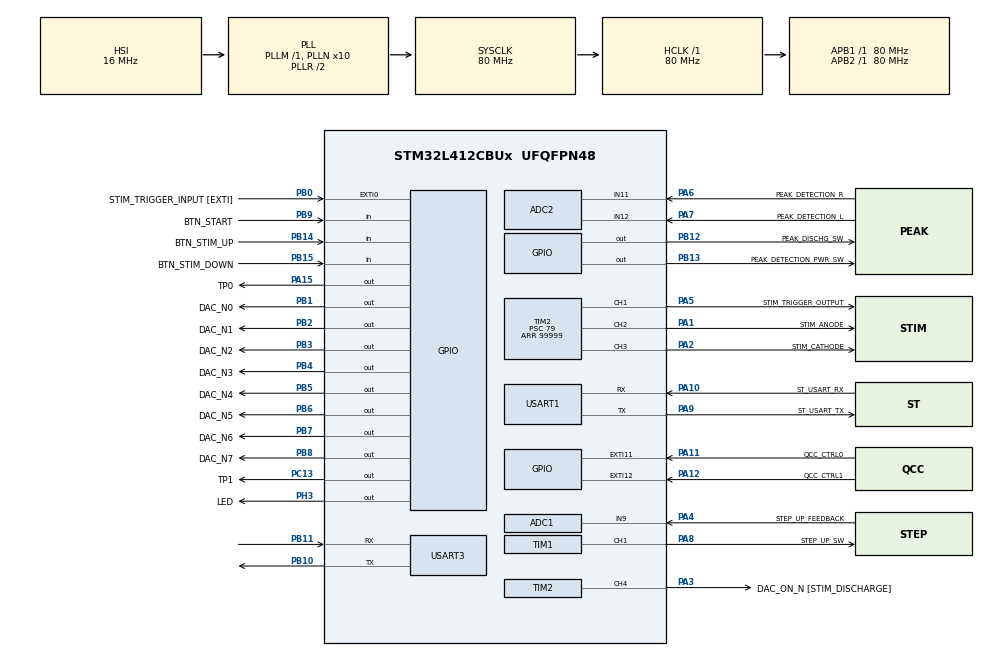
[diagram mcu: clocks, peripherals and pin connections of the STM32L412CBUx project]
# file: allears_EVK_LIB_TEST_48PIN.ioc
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ADC1.AWD1HighThreshold=2650
ADC1.AWD1ITMode=ENABLE
ADC1.Channel-1\#ChannelRegularConversion=ADC_CHANNEL_9
ADC1.ClockPrescaler=ADC_CLOCK_ASYNC_DIV2
ADC1.ContinuousConvMode=ENABLE
ADC1.DMAContinuousRequests=ENABLE
ADC1.EOCSelection=ADC_EOC_SEQ_CONV
ADC1.EnableAnalogWatchDog1=true
ADC1.NbrOfConversionFlag=1
ADC1.OffsetNumber-1\#ChannelRegularConversion=ADC_OFFSET_NONE
ADC1.Overrun=ADC_OVR_DATA_OVERWRITTEN
ADC1.Rank-1\#ChannelRegularConversion=1
ADC1.SamplingTime-1\#ChannelRegularConversion=ADC_SAMPLETIME_47CYCLES_5
ADC1.WatchdogChannel=ADC_CHANNEL_9
ADC1.master=1
ADC2.Channel-3\#ChannelRegularConversion=ADC_CHANNEL_11
ADC2.Channel-4\#ChannelRegularConversion=ADC_CHANNEL_12
ADC2.ClockPrescaler=ADC_CLOCK_ASYNC_DIV2
ADC2.DMAContinuousRequests=ENABLE
ADC2.EOCSelection=ADC_EOC_SEQ_CONV
ADC2.ExternalTrigConv=ADC_EXTERNALTRIG_T2_TRGO
ADC2.ExternalTrigConvEdge=ADC_EXTERNALTRIGCONVEDGE_FALLING
ADC2.NbrOfConversion=2
ADC2.NbrOfConversionFlag=1
ADC2.OffsetNumber-3\#ChannelRegularConversion=ADC_OFFSET_NONE
ADC2.OffsetNumber-4\#ChannelRegularConversion=ADC_OFFSET_NONE
ADC2.Overrun=ADC_OVR_DATA_OVERWRITTEN
ADC2.Rank-3\#ChannelRegularConversion=1
ADC2.Rank-4\#ChannelRegularConversion=2
ADC2.SamplingTime-3\#ChannelRegularConversion=ADC_SAMPLETIME_47CYCLES_5
ADC2.SamplingTime-4\#ChannelRegularConversion=ADC_SAMPLETIME_47CYCLES_5
Dma.ADC1.5.Direction=DMA_PERIPH_TO_MEMORY
Dma.ADC1.5.Instance=DMA2_Channel3
Dma.ADC1.5.MemDataAlignment=DMA_MDATAALIGN_HALFWORD
Dma.ADC1.5.MemInc=DMA_MINC_ENABLE
Dma.ADC1.5.Mode=DMA_CIRCULAR
Dma.ADC1.5.PeriphDataAlignment=DMA_PDATAALIGN_HALFWORD
Dma.ADC1.5.PeriphInc=DMA_PINC_DISABLE
Dma.ADC1.5.Priority=DMA_PRIORITY_LOW
Dma.ADC2.4.Direction=DMA_PERIPH_TO_MEMORY
Dma.ADC2.4.Instance=DMA1_Channel2
Dma.ADC2.4.MemDataAlignment=DMA_MDATAALIGN_HALFWORD
Dma.ADC2.4.MemInc=DMA_MINC_ENABLE
Dma.ADC2.4.Mode=DMA_CIRCULAR
Dma.ADC2.4.PeriphDataAlignment=DMA_PDATAALIGN_HALFWORD
Dma.ADC2.4.PeriphInc=DMA_PINC_DISABLE
Dma.ADC2.4.Priority=DMA_PRIORITY_LOW
Dma.Request0=TIM2_CH2/CH4
Dma.Request1=TIM2_CH3
Dma.Request2=USART1_RX
Dma.Request3=USART1_TX
Dma.Request4=ADC2
Dma.Request5=ADC1
Dma.TIM2_CH2/CH4.0.Direction=DMA_MEMORY_TO_PERIPH
Dma.TIM2_CH2/CH4.0.Instance=DMA1_Channel7
Dma.TIM2_CH2/CH4.0.MemDataAlignment=DMA_MDATAALIGN_WORD
Dma.TIM2_CH2/CH4.0.MemInc=DMA_MINC_ENABLE
Dma.TIM2_CH2/CH4.0.Mode=DMA_CIRCULAR
Dma.TIM2_CH2/CH4.0.PeriphDataAlignment=DMA_PDATAALIGN_WORD
Dma.TIM2_CH2/CH4.0.PeriphInc=DMA_PINC_DISABLE
Dma.TIM2_CH2/CH4.0.Priority=DMA_PRIORITY_VERY_HIGH
Dma.TIM2_CH3.1.Direction=DMA_MEMORY_TO_PERIPH
Dma.TIM2_CH3.1.Instance=DMA1_Channel1
Dma.TIM2_CH3.1.MemDataAlignment=DMA_MDATAALIGN_WORD
Dma.TIM2_CH3.1.MemInc=DMA_MINC_ENABLE
Dma.TIM2_CH3.1.Mode=DMA_CIRCULAR
Dma.TIM2_CH3.1.PeriphDataAlignment=DMA_PDATAALIGN_WORD
Dma.TIM2_CH3.1.PeriphInc=DMA_PINC_DISABLE
Dma.TIM2_CH3.1.Priority=DMA_PRIORITY_VERY_HIGH
Dma.USART1_RX.2.Direction=DMA_PERIPH_TO_MEMORY
Dma.USART1_RX.2.Instance=DMA1_Channel5
Dma.USART1_RX.2.MemDataAlignment=DMA_MDATAALIGN_BYTE
Dma.USART1_RX.2.MemInc=DMA_MINC_ENABLE
Dma.USART1_RX.2.Mode=DMA_NORMAL
Dma.USART1_RX.2.PeriphDataAlignment=DMA_PDATAALIGN_BYTE
Dma.USART1_RX.2.PeriphInc=DMA_PINC_DISABLE
Dma.USART1_RX.2.Priority=DMA_PRIORITY_LOW
Dma.USART1_TX.3.Direction=DMA_MEMORY_TO_PERIPH
Dma.USART1_TX.3.Instance=DMA1_Channel4
Dma.USART1_TX.3.MemDataAlignment=DMA_MDATAALIGN_BYTE
Dma.USART1_TX.3.MemInc=DMA_MINC_ENABLE
Dma.USART1_TX.3.Mode=DMA_NORMAL
Dma.USART1_TX.3.PeriphDataAlignment=DMA_PDATAALIGN_BYTE
Dma.USART1_TX.3.PeriphInc=DMA_PINC_DISABLE
Dma.USART1_TX.3.Priority=DMA_PRIORITY_LOW
Mcu.Family=STM32L4
Mcu.Name=STM32L412CBUx
Mcu.Package=UFQFPN48
NVIC.ADC1_2_IRQn=true\:1\:0\:true\:false\:true\:true\:true\:true
NVIC.DMA1_Channel1_IRQn=true\:1\:0\:true\:false\:true\:false\:true\:true
NVIC.DMA1_Channel2_IRQn=true\:1\:0\:true\:false\:true\:false\:true\:true
NVIC.DMA1_Channel4_IRQn=true\:0\:0\:false\:false\:true\:false\:true\:true
NVIC.DMA1_Channel5_IRQn=true\:0\:0\:false\:false\:true\:false\:true\:true
NVIC.DMA1_Channel7_IRQn=true\:1\:0\:true\:false\:true\:false\:true\:true
NVIC.EXTI0_IRQn=true\:0\:0\:false\:false\:true\:true\:true\:true
NVIC.EXTI15_10_IRQn=true\:0\:0\:false\:false\:true\:true\:true\:true
NVIC.PriorityGroup=NVIC_PRIORITYGROUP_4
NVIC.TIM1_UP_TIM16_IRQn=true\:2\:0\:true\:false\:true\:true\:true\:true
NVIC.TIM2_IRQn=true\:2\:0\:true\:false\:true\:true\:true\:true
NVIC.TIM6_IRQn=true\:2\:0\:true\:false\:true\:true\:true\:true
NVIC.USART1_IRQn=true\:0\:0\:false\:false\:true\:true\:true\:true
PA0.Mode=SYS_WakeUp0
PA0.Signal=SYS_WKUP1
PA1.GPIO_Label=STIM_ANODE
PA1.Signal=S_TIM2_CH2
PA10.GPIO_Label=ST_USART_RX
PA10.Mode=Asynchronous
PA10.Signal=USART1_RX
PA11.GPIO_Label=QCC_CTRL0
PA11.Signal=GPXTI11
PA12.GPIO_Label=QCC_CTRL1
PA12.Signal=GPXTI12
PA13\ (JTMS/SWDIO).Mode=Serial_Wire
PA13\ (JTMS/SWDIO).Signal=SYS_JTMS-SWDIO
PA14\ (JTCK/SWCLK).Mode=Serial_Wire
PA14\ (JTCK/SWCLK).Signal=SYS_JTCK-SWCLK
PA15\ (JTDI).GPIO_Label=TP0
PA15\ (JTDI).GPIO_PuPd=GPIO_PULLDOWN
PA15\ (JTDI).Signal=GPIO_Output
PA2.GPIO_Label=STIM_CATHODE
PA2.Signal=S_TIM2_CH3
PA3.GPIO_Label=DAC_ON_N [STIM_DISCHARGE]
PA3.Signal=S_TIM2_CH4
PA4.GPIO_Label=STEP_UP_FEEDBACK
PA4.Signal=ADCx_IN9
PA5.GPIO_Label=STIM_TRIGGER_OUTPUT
PA5.Signal=S_TIM2_CH1
PA6.GPIO_Label=PEAK_DETECTION_R
PA6.Signal=ADCx_IN11
PA7.GPIO_Label=PEAK_DETECTION_L
PA7.Signal=ADCx_IN12
PA8.GPIO_Label=STEP_UP_SW
PA8.Signal=S_TIM1_CH1
PA9.GPIO_Label=ST_USART_TX
PA9.Mode=Asynchronous
PA9.Signal=USART1_TX
PB0.GPIO_Label=STIM_TRIGGER_INPUT [EXTI]
PB0.Signal=GPXTI0
PB1.GPIO_Label=DAC_N0
PB1.GPIO_PuPd=GPIO_PULLDOWN
PB1.Signal=GPIO_Output
PB10.Mode=Asynchronous
PB10.Signal=USART3_TX
PB11.Mode=Asynchronous
PB11.Signal=USART3_RX
PB12.GPIO_Label=PEAK_DISCHG_SW
PB12.GPIO_PuPd=GPIO_PULLDOWN
PB12.Signal=GPIO_Output
PB13.GPIO_Label=PEAK_DETECTION_PWR_SW
PB13.GPIO_PuPd=GPIO_PULLDOWN
PB13.Signal=GPIO_Output
PB14.GPIO_Label=BTN_STIM_UP
PB14.GPIO_PuPd=GPIO_PULLUP
PB14.Signal=GPIO_Input
PB15.GPIO_Label=BTN_STIM_DOWN
PB15.GPIO_PuPd=GPIO_PULLUP
PB15.Signal=GPIO_Input
PB2.GPIO_Label=DAC_N1
PB2.GPIO_PuPd=GPIO_PULLDOWN
PB2.Signal=GPIO_Output
PB3\ (JTDO/TRACESWO).GPIO_Label=DAC_N2
PB3\ (JTDO/TRACESWO).GPIO_PuPd=GPIO_PULLDOWN
PB3\ (JTDO/TRACESWO).Signal=GPIO_Output
PB4\ (NJTRST).GPIO_Label=DAC_N3
PB4\ (NJTRST).GPIO_PuPd=GPIO_PULLDOWN
PB4\ (NJTRST).Signal=GPIO_Output
PB5.GPIO_Label=DAC_N4
PB5.GPIO_PuPd=GPIO_PULLDOWN
PB5.Signal=GPIO_Output
PB6.GPIO_Label=DAC_N5
PB6.GPIO_PuPd=GPIO_PULLDOWN
PB6.Signal=GPIO_Output
PB7.GPIO_Label=DAC_N6
PB7.GPIO_PuPd=GPIO_PULLDOWN
PB7.Signal=GPIO_Output
PB8.GPIO_Label=DAC_N7
PB8.GPIO_PuPd=GPIO_PULLDOWN
PB8.Signal=GPIO_Output
PB9.GPIO_Label=BTN_START
PB9.GPIO_PuPd=GPIO_PULLUP
PB9.Signal=GPIO_Input
PC13.GPIO_Label=TP1
PC13.GPIO_PuPd=GPIO_PULLDOWN
PC13.Signal=GPIO_Output
PC14-OSC32_IN\ (PC14).Mode=LSE-External-Oscillator
PC14-OSC32_IN\ (PC14).Signal=RCC_OSC32_IN
PC15-OSC32_OUT\ (PC15).Mode=LSE-External-Oscillator
PC15-OSC32_OUT\ (PC15).Signal=RCC_OSC32_OUT
PH0-OSC_IN\ (PH0).Mode=HSE-External-Oscillator
PH0-OSC_IN\ (PH0).Signal=RCC_OSC_IN
PH1-OSC_OUT\ (PH1).Mode=HSE-External-Oscillator
PH1-OSC_OUT\ (PH1).Signal=RCC_OSC_OUT
PH3-BOOT0\ (BOOT0).GPIO_Label=LED
PH3-BOOT0\ (BOOT0).GPIO_PuPd=GPIO_PULLDOWN
PH3-BOOT0\ (BOOT0).Signal=GPIO_Output
ProjectManager.HeapSize=0x7FF
ProjectManager.StackSize=0x7FF
ProjectManager.TargetToolchain=STM32CubeIDE
RCC.ADCFreq_Value=80000000
RCC.AHBFreq_Value=80000000
RCC.APB1Freq_Value=80000000
RCC.APB1TimFreq_Value=80000000
RCC.APB2Freq_Value=80000000
RCC.APB2TimFreq_Value=80000000
RCC.CortexFreq_Value=80000000
RCC.HCLKFreq_Value=80000000
RCC.HSE_VALUE=8000000
RCC.HSI48_VALUE=48000000
RCC.HSI_VALUE=16000000
RCC.MSI_VALUE=4000000
RCC.PLLN=10
RCC.PLLSourceVirtual=RCC_PLLSOURCE_HSI
RCC.SYSCLKFreq_VALUE=80000000
RCC.SYSCLKSource=RCC_SYSCLKSOURCE_PLLCLK
RCC.USBFreq_Value=4000000
RCC.VCOOutputFreq_Value=160000000
SH.ADCx_IN11.0=ADC2_IN11,IN11-Single-Ended
SH.ADCx_IN12.0=ADC2_IN12,IN12-Single-Ended
SH.ADCx_IN9.0=ADC1_IN9,IN9-Single-Ended
SH.S_TIM1_CH1.0=TIM1_CH1,PWM Generation1 CH1
SH.S_TIM2_CH1.0=TIM2_CH1,PWM Generation1 CH1
SH.S_TIM2_CH2.0=TIM2_CH2,PWM Generation2 CH2
SH.S_TIM2_CH3.0=TIM2_CH3,Output Compare3 CH3
SH.S_TIM2_CH4.0=TIM2_CH4,Output Compare4 CH4
TIM1.AutoReloadPreload=TIM_AUTORELOAD_PRELOAD_ENABLE
TIM1.Channel-PWM\ Generation1\ CH1=TIM_CHANNEL_1
TIM1.CounterMode=TIM_COUNTERMODE_DOWN
TIM1.Period=9999
TIM1.Prescaler=3
TIM16.AutoReloadPreload=TIM_AUTORELOAD_PRELOAD_ENABLE
TIM16.Period=9999
TIM16.Prescaler=799
TIM2.AutoReloadPreload=TIM_AUTORELOAD_PRELOAD_ENABLE
TIM2.Channel-Output\ Compare3\ CH3=TIM_CHANNEL_3
TIM2.Channel-Output\ Compare4\ CH4=TIM_CHANNEL_4
TIM2.Channel-PWM\ Generation1\ CH1=TIM_CHANNEL_1
TIM2.Channel-PWM\ Generation2\ CH2=TIM_CHANNEL_2
TIM2.OCMode_3=TIM_OCMODE_TOGGLE
TIM2.OCMode_4=TIM_OCMODE_TOGGLE
TIM2.OCPolarity_1=TIM_OCPOLARITY_LOW
TIM2.Period=99999
TIM2.Prescaler=79
TIM2.Pulse-Output\ Compare3\ CH3=1
TIM2.Pulse-Output\ Compare4\ CH4=1
TIM2.Pulse-PWM\ Generation1\ CH1=1
TIM2.Pulse-PWM\ Generation2\ CH2=1
TIM2.TIM_MasterOutputTrigger=TIM_TRGO_OC2REF
TIM6.AutoReloadPreload=TIM_AUTORELOAD_PRELOAD_ENABLE
TIM6.Period=9999
TIM6.Prescaler=799
USART1.VirtualMode-Asynchronous=VM_ASYNC
USART3.VirtualMode-Asynchronous=VM_ASYNC
VP_TIM16_VS_ClockSourceINT.Mode=Enable_Timer
VP_TIM6_VS_ClockSourceINT.Mode=Enable_Timer
board=custom

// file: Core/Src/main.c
/* USER CODE BEGIN Header */
/**
 ******************************************************************************
 * @file           : main.c
 * @brief          : Main program body
 ******************************************************************************
 * @attention
 *
 * Copyright (c) 2023 STMicroelectronics.
 * All rights reserved.
 *
 * This software is licensed under terms that can be found in the LICENSE file
 * in the root directory of this software component.
 * If no LICENSE file comes with this software, it is provided AS-IS.
 *
 ******************************************************************************
 */
/* USER CODE END Header */
#include "main.h"

/* USER CODE BEGIN Includes */
#include "stim_lib.h"

#if 1
/* USER APPLICATION HEADER */
#include "bt_msg_private.h"
#include "td_schedule.h"
#include "td_private.h"
#include "td_uart1.h"
#endif

#include "td_debug.h"
/* USER CODE END Includes */

ADC_HandleTypeDef hadc1;
ADC_HandleTypeDef hadc2;
DMA_HandleTypeDef hdma_adc1;
DMA_HandleTypeDef hdma_adc2;

TIM_HandleTypeDef htim1;
TIM_HandleTypeDef htim2;
TIM_HandleTypeDef htim6;
TIM_HandleTypeDef htim16;
DMA_HandleTypeDef hdma_tim2_ch2_ch4;
DMA_HandleTypeDef hdma_tim2_ch3;

UART_HandleTypeDef huart1;
UART_HandleTypeDef huart3;
DMA_HandleTypeDef hdma_usart1_rx;
DMA_HandleTypeDef hdma_usart1_tx;

void SystemClock_Config(void);
/* USER CODE BEGIN PFP */

/*
 * --------------- USER APPLICATION AREA ---------------
 * */
UART_HandleTypeDef* tdUsart1_handlerGet(void)
{
	return &huart1;
}

void USER_DMA_Init(void)
{
	/* UART1 DMA RX and TX */
	/* DMA1_Channel4_IRQn interrupt configuration */
	HAL_NVIC_SetPriority(DMA1_Channel4_IRQn, 0, 0);
	HAL_NVIC_EnableIRQ(DMA1_Channel4_IRQn);
	/* DMA1_Channel5_IRQn interrupt configuration */
	HAL_NVIC_SetPriority(DMA1_Channel5_IRQn, 0, 0);
	HAL_NVIC_EnableIRQ(DMA1_Channel5_IRQn);
}

void USER_GPIO_Init(void)
{
	GPIO_InitTypeDef GPIO_InitStruct =
	{ 0 };

	/* GPIO Ports Clock Enable */
	__HAL_RCC_GPIOC_CLK_ENABLE();
	__HAL_RCC_GPIOA_CLK_ENABLE();
	__HAL_RCC_GPIOB_CLK_ENABLE();

	/* TP1 Configure GPIO pin Output Level */
	HAL_GPIO_WritePin(TP1_GPIO_Port, TP1_Pin, GPIO_PIN_RESET);

	/* TP0 Configure GPIO pin Output Level */
	HAL_GPIO_WritePin(TP0_GPIO_Port, TP0_Pin, GPIO_PIN_RESET);

	/* LED Configure GPIO pin Output Level */
	HAL_GPIO_WritePin(LED_GPIO_Port, LED_Pin, GPIO_PIN_RESET);

	/*Configure GPIO pin : TP1_Pin */
	GPIO_InitStruct.Pin = TP1_Pin;
	GPIO_InitStruct.Mode = GPIO_MODE_OUTPUT_PP;
	GPIO_InitStruct.Pull = GPIO_NOPULL;
	GPIO_InitStruct.Speed = GPIO_SPEED_FREQ_LOW;
	HAL_GPIO_Init(TP1_GPIO_Port, &GPIO_InitStruct);

	/*Configure GPIO pins : BTN_STIM_UP_Pin BTN_STIM_DOWN_Pin BTN_START_Pin */
	GPIO_InitStruct.Pin = BTN_STIM_UP_Pin | BTN_STIM_DOWN_Pin | BTN_START_Pin;
	GPIO_InitStruct.Mode = GPIO_MODE_INPUT;
	GPIO_InitStruct.Pull = GPIO_NOPULL;
	HAL_GPIO_Init(GPIOB, &GPIO_InitStruct);

	/*Configure GPIO pins : QCC_CTRL0_Pin QCC_CTRL1_Pin */
	GPIO_InitStruct.Pin = QCC_CTRL0_Pin | QCC_CTRL1_Pin;
	GPIO_InitStruct.Mode = GPIO_MODE_IT_RISING;
	GPIO_InitStruct.Pull = GPIO_NOPULL;
	HAL_GPIO_Init(GPIOA, &GPIO_InitStruct);

	/*Configure GPIO pin : TP0_Pin */
	GPIO_InitStruct.Pin = TP0_Pin;
	GPIO_InitStruct.Mode = GPIO_MODE_OUTPUT_PP;
	GPIO_InitStruct.Pull = GPIO_NOPULL;
	GPIO_InitStruct.Speed = GPIO_SPEED_FREQ_LOW;
	HAL_GPIO_Init(TP0_GPIO_Port, &GPIO_InitStruct);

	/*Configure GPIO pin : LED_Pin */
	GPIO_InitStruct.Pin = LED_Pin;
	GPIO_InitStruct.Mode = GPIO_MODE_OUTPUT_PP;
	GPIO_InitStruct.Pull = GPIO_NOPULL;
	GPIO_InitStruct.Speed = GPIO_SPEED_FREQ_LOW;
	HAL_GPIO_Init(LED_GPIO_Port, &GPIO_InitStruct);

	/* EXTI interrupt init :: QCC CTRL INTERRUPT */
	HAL_NVIC_SetPriority(EXTI15_10_IRQn, 0, 0);
	HAL_NVIC_EnableIRQ(EXTI15_10_IRQn);
}
/*
 * --------------- END OF USER APPLICATION AREA ---------------
 * */

/*
 * --------------- STIM LIB AREA ---------------
 * */
/*
 * STIM LIB :: EXTI CALLBACK
 * */
void HAL_GPIO_EXTI_Callback(uint16_t GPIO_Pin)
{
	/*
	 * Trigger Input External Interrupt Process
	 * */
	stimLib_trgInput_callback(GPIO_Pin);

	/* Application Code */
}

/*
 * STIM LIB :: PULSE FINISH INTERRUPT
 * */
void HAL_TIM_ErrorCallback(TIM_HandleTypeDef *htim)
{
	stimLib_timError_callback(htim);
	TD_DEBUG_PRINT(("HAL_TIM_ErrorCallback\n"));
}

void HAL_TIM_PWM_PulseFinishedHalfCpltCallback(TIM_HandleTypeDef *htim)
{
	TD_DEBUG_PRINT(("HAL_TIM_PWM_PulseFinishedHalfCpltCallback\n"));
}

void HAL_TIM_PWM_PulseFinishedCallback(TIM_HandleTypeDef *htim)
{
	stimLib_timPwmPluseFinished_callback(htim);
	TD_DEBUG_PRINT(("HAL_TIM_PWM_PulseFinishedCallback\n"));
}

/*
 * TIMER INTERRUPT :: STEPUP SCHEDULER
 * */
void HAL_TIM_PeriodElapsedCallback(TIM_HandleTypeDef *htim)
{
	stimLib_stepup_ctrlCallback(htim);
	if (htim->Instance == TIM16)
	{
		td_Group_Pulse_Mode_Control_Scheduler();
	}
}

/*
 * STIM LIB :: ADC Error Callback
 * */
void HAL_ADC_ErrorCallback(ADC_HandleTypeDef *hadc)
{
	stimLib_adcError_callback();
}

/*
 * STIM LIB :: Ste-up ADC watchdog
 * */
void HAL_ADC_LevelOutOfWindowCallback(ADC_HandleTypeDef *hadc)
{
	stimLib_adcWatchdoc_callback();
}

#if 0
/*
 * STIM LIB :: Peak Detection Data Read
 * */
void HAL_ADC_ConvCpltCallback(ADC_HandleTypeDef *hadc)
{
	/*
	 * How to read Peak Detection data
	 * Please refer to the example code below
	 * ----------------------------------------
	 * uint8_t i;
	 * if (hadc->Instance == hadc2.Instance)
	 * {
	 * 		for (i = 0; i < PD_ADC_CONVERSION_SIZE; i++)
	 * 		{
	 * 			USER_PD_ADC_BUFF_R[i] = PD_ADC_CONVERSION_BUFFER[i * 2];
	 * 			USER_PD_ADC_BUFF_R[i] = PD_ADC_CONVERSION_BUFFER[(i * 2) + 1];
	 * 		}
	 * }
	 * ----------------------------------------
	 */
}
#endif
/*
 * --------------- END OF STIM LIB AREA ---------------
 * */

/* USER CODE END PFP */

int main(void)
{

  /* MCU Configuration--------------------------------------------------------*/

  /* Reset of all peripherals, Initializes the Flash interface and the Systick. */
  HAL_Init();

  /* Configure the system clock */
  SystemClock_Config();

  /* USER CODE BEGIN SysInit */
#if 1
	MX_USART3_UART_Init();
	stimLib_stimInit();
	USER_DMA_Init();
	USER_GPIO_Init();
	MX_USART1_UART_Init();
	MX_TIM16_Init();
#else
  /* USER CODE END SysInit */

  /* Initialize all configured peripherals */
  MX_GPIO_Init();
  MX_DMA_Init();
  MX_USART3_UART_Init();
  MX_TIM1_Init();
  MX_TIM2_Init();
  MX_TIM6_Init();
  MX_ADC1_Init();
  MX_ADC2_Init();
  MX_USART1_UART_Init();
  MX_TIM16_Init();
  /* USER CODE BEGIN 2 */
#endif

	TD_DEBUG_INIT();
#ifdef STIM_LIB_EVKIT_CC
	TD_DEBUG_PRINT(("EVKIT MODE :: CC\n"));
#else
	TD_DEBUG_PRINT(("EVKIT MODE :: CV\n"));
#endif

	TD_DEBUG_PRINT(("main() starts\n"));

	tdUart1_init();
	btMsg_init();

	/* STIM LIB PULSE SETTING */
#if 0
	stim_signal_cfg_t pulse_data;

	pulse_data.freq = 10;
	pulse_data.pulse_width = 1000;
	pulse_data.degree = 20;
	stimLib_stimSignalConfig(&pulse_data);
#endif

	/* STIM LIB TRIGGER SETTING */
#if 0
	stim_trg_cfg_t trg_data;

	trg_data.volt_prestart = true;
	trg_data.trg_out_enable = false;
	trg_data.trg_out_active_pol = 1;
	trg_data.trg_in_enable = true;
	trg_data.trg_in_active_pol = 1;
	trg_data.trg_in_toggled = true;
	stimLib_stimTriggerConfig(&trg_data);
#endif

#if 0
	stimLib_stimSessionStart();
#endif
  /* USER CODE END 2 */

  /* Infinite loop */
	while (1)
	{

    /* USER CODE BEGIN 3 */

#if 0
		pulse_data.freq = 10;
		pulse_data.pulse_width = 1000;
		pulse_data.degree = 1;
		stimLib_stimSignalConfig(&pulse_data);

		trg_data.volt_prestart = false;
		trg_data.trg_out_enable = false;
		trg_data.trg_out_active_pol = 1;
		trg_data.trg_in_enable = false;
		trg_data.trg_in_active_pol = 1;
		trg_data.trg_in_toggled = true;
		stimLib_stimTriggerConfig(&trg_data);

		stimLib_stimSessionStart();

		stimLib_stimStart();
		HAL_Delay(1000);

		stimLib_stimPause();
		HAL_Delay(300);
		stimLib_stimSessionStop();
#endif
		td_Schedule();
	}
  /* USER CODE END 3 */
}

void SystemClock_Config(void)
{
  RCC_OscInitTypeDef RCC_OscInitStruct = {0};
  RCC_ClkInitTypeDef RCC_ClkInitStruct = {0};

  /** Configure the main internal regulator output voltage
  */
  if (HAL_PWREx_ControlVoltageScaling(PWR_REGULATOR_VOLTAGE_SCALE1) != HAL_OK)
  {
    Error_Handler();
  }

  /** Initializes the RCC Oscillators according to the specified parameters
  * in the RCC_OscInitTypeDef structure.
  */
  RCC_OscInitStruct.OscillatorType = RCC_OSCILLATORTYPE_HSI;
  RCC_OscInitStruct.HSIState = RCC_HSI_ON;
  RCC_OscInitStruct.HSICalibrationValue = RCC_HSICALIBRATION_DEFAULT;
  RCC_OscInitStruct.PLL.PLLState = RCC_PLL_ON;
  RCC_OscInitStruct.PLL.PLLSource = RCC_PLLSOURCE_HSI;
  RCC_OscInitStruct.PLL.PLLM = 1;
  RCC_OscInitStruct.PLL.PLLN = 10;
  RCC_OscInitStruct.PLL.PLLQ = RCC_PLLQ_DIV2;
  RCC_OscInitStruct.PLL.PLLR = RCC_PLLR_DIV2;
  if (HAL_RCC_OscConfig(&RCC_OscInitStruct) != HAL_OK)
  {
    Error_Handler();
  }

  /** Initializes the CPU, AHB and APB buses clocks
  */
  RCC_ClkInitStruct.ClockType = RCC_CLOCKTYPE_HCLK|RCC_CLOCKTYPE_SYSCLK
                              |RCC_CLOCKTYPE_PCLK1|RCC_CLOCKTYPE_PCLK2;
  RCC_ClkInitStruct.SYSCLKSource = RCC_SYSCLKSOURCE_PLLCLK;
  RCC_ClkInitStruct.AHBCLKDivider = RCC_SYSCLK_DIV1;
  RCC_ClkInitStruct.APB1CLKDivider = RCC_HCLK_DIV1;
  RCC_ClkInitStruct.APB2CLKDivider = RCC_HCLK_DIV1;

  if (HAL_RCC_ClockConfig(&RCC_ClkInitStruct, FLASH_LATENCY_4) != HAL_OK)
  {
    Error_Handler();
  }
}

void MX_ADC1_Init(void)
{

  ADC_MultiModeTypeDef multimode = {0};
  ADC_AnalogWDGConfTypeDef AnalogWDGConfig = {0};
  ADC_ChannelConfTypeDef sConfig = {0};

  /** Common config
  */
  hadc1.Instance = ADC1;
  hadc1.Init.ClockPrescaler = ADC_CLOCK_ASYNC_DIV2;
  hadc1.Init.Resolution = ADC_RESOLUTION_12B;
  hadc1.Init.DataAlign = ADC_DATAALIGN_RIGHT;
  hadc1.Init.ScanConvMode = ADC_SCAN_DISABLE;
  hadc1.Init.EOCSelection = ADC_EOC_SEQ_CONV;
  hadc1.Init.LowPowerAutoWait = DISABLE;
  hadc1.Init.ContinuousConvMode = ENABLE;
  hadc1.Init.NbrOfConversion = 1;
  hadc1.Init.DiscontinuousConvMode = DISABLE;
  hadc1.Init.ExternalTrigConv = ADC_SOFTWARE_START;
  hadc1.Init.ExternalTrigConvEdge = ADC_EXTERNALTRIGCONVEDGE_NONE;
  hadc1.Init.DMAContinuousRequests = ENABLE;
  hadc1.Init.Overrun = ADC_OVR_DATA_OVERWRITTEN;
  hadc1.Init.OversamplingMode = DISABLE;
  if (HAL_ADC_Init(&hadc1) != HAL_OK)
  {
    Error_Handler();
  }

  /** Configure the ADC multi-mode
  */
  multimode.Mode = ADC_MODE_INDEPENDENT;
  if (HAL_ADCEx_MultiModeConfigChannel(&hadc1, &multimode) != HAL_OK)
  {
    Error_Handler();
  }

  /** Configure Analog WatchDog 1
  */
  AnalogWDGConfig.WatchdogNumber = ADC_ANALOGWATCHDOG_1;
  AnalogWDGConfig.WatchdogMode = ADC_ANALOGWATCHDOG_SINGLE_REG;
  AnalogWDGConfig.Channel = ADC_CHANNEL_9;
  AnalogWDGConfig.ITMode = ENABLE;
  AnalogWDGConfig.HighThreshold = 2650;
  AnalogWDGConfig.LowThreshold = 0;
  if (HAL_ADC_AnalogWDGConfig(&hadc1, &AnalogWDGConfig) != HAL_OK)
  {
    Error_Handler();
  }

  /** Configure Regular Channel
  */
  sConfig.Channel = ADC_CHANNEL_9;
  sConfig.Rank = ADC_REGULAR_RANK_1;
  sConfig.SamplingTime = ADC_SAMPLETIME_47CYCLES_5;
  sConfig.SingleDiff = ADC_SINGLE_ENDED;
  sConfig.OffsetNumber = ADC_OFFSET_NONE;
  sConfig.Offset = 0;
  if (HAL_ADC_ConfigChannel(&hadc1, &sConfig) != HAL_OK)
  {
    Error_Handler();
  }

}

void MX_ADC2_Init(void)
{

  ADC_ChannelConfTypeDef sConfig = {0};

  /** Common config
  */
  hadc2.Instance = ADC2;
  hadc2.Init.ClockPrescaler = ADC_CLOCK_ASYNC_DIV2;
  hadc2.Init.Resolution = ADC_RESOLUTION_12B;
  hadc2.Init.DataAlign = ADC_DATAALIGN_RIGHT;
  hadc2.Init.ScanConvMode = ADC_SCAN_ENABLE;
  hadc2.Init.EOCSelection = ADC_EOC_SEQ_CONV;
  hadc2.Init.LowPowerAutoWait = DISABLE;
  hadc2.Init.ContinuousConvMode = DISABLE;
  hadc2.Init.NbrOfConversion = 2;
  hadc2.Init.DiscontinuousConvMode = DISABLE;
  hadc2.Init.ExternalTrigConv = ADC_EXTERNALTRIG_T2_TRGO;
  hadc2.Init.ExternalTrigConvEdge = ADC_EXTERNALTRIGCONVEDGE_FALLING;
  hadc2.Init.DMAContinuousRequests = ENABLE;
  hadc2.Init.Overrun = ADC_OVR_DATA_OVERWRITTEN;
  hadc2.Init.OversamplingMode = DISABLE;
  if (HAL_ADC_Init(&hadc2) != HAL_OK)
  {
    Error_Handler();
  }

  /** Configure Regular Channel
  */
  sConfig.Channel = ADC_CHANNEL_11;
  sConfig.Rank = ADC_REGULAR_RANK_1;
  sConfig.SamplingTime = ADC_SAMPLETIME_47CYCLES_5;
  sConfig.SingleDiff = ADC_SINGLE_ENDED;
  sConfig.OffsetNumber = ADC_OFFSET_NONE;
  sConfig.Offset = 0;
  if (HAL_ADC_ConfigChannel(&hadc2, &sConfig) != HAL_OK)
  {
    Error_Handler();
  }

  /** Configure Regular Channel
  */
  sConfig.Channel = ADC_CHANNEL_12;
  sConfig.Rank = ADC_REGULAR_RANK_2;
  if (HAL_ADC_ConfigChannel(&hadc2, &sConfig) != HAL_OK)
  {
    Error_Handler();
  }

}

void MX_TIM1_Init(void)
{

  TIM_MasterConfigTypeDef sMasterConfig = {0};
  TIM_OC_InitTypeDef sConfigOC = {0};
  TIM_BreakDeadTimeConfigTypeDef sBreakDeadTimeConfig = {0};

  htim1.Instance = TIM1;
  htim1.Init.Prescaler = 3;
  htim1.Init.CounterMode = TIM_COUNTERMODE_DOWN;
  htim1.Init.Period = 9999;
  htim1.Init.ClockDivision = TIM_CLOCKDIVISION_DIV1;
  htim1.Init.RepetitionCounter = 0;
  htim1.Init.AutoReloadPreload = TIM_AUTORELOAD_PRELOAD_ENABLE;
  if (HAL_TIM_PWM_Init(&htim1) != HAL_OK)
  {
    Error_Handler();
  }
  sMasterConfig.MasterOutputTrigger = TIM_TRGO_RESET;
  sMasterConfig.MasterOutputTrigger2 = TIM_TRGO2_RESET;
  sMasterConfig.MasterSlaveMode = TIM_MASTERSLAVEMODE_DISABLE;
  if (HAL_TIMEx_MasterConfigSynchronization(&htim1, &sMasterConfig) != HAL_OK)
  {
    Error_Handler();
  }
  sConfigOC.OCMode = TIM_OCMODE_PWM1;
  sConfigOC.Pulse = 0;
  sConfigOC.OCPolarity = TIM_OCPOLARITY_HIGH;
  sConfigOC.OCNPolarity = TIM_OCNPOLARITY_HIGH;
  sConfigOC.OCFastMode = TIM_OCFAST_DISABLE;
  sConfigOC.OCIdleState = TIM_OCIDLESTATE_RESET;
  sConfigOC.OCNIdleState = TIM_OCNIDLESTATE_RESET;
  if (HAL_TIM_PWM_ConfigChannel(&htim1, &sConfigOC, TIM_CHANNEL_1) != HAL_OK)
  {
    Error_Handler();
  }
  sBreakDeadTimeConfig.OffStateRunMode = TIM_OSSR_DISABLE;
  sBreakDeadTimeConfig.OffStateIDLEMode = TIM_OSSI_DISABLE;
  sBreakDeadTimeConfig.LockLevel = TIM_LOCKLEVEL_OFF;
  sBreakDeadTimeConfig.DeadTime = 0;
  sBreakDeadTimeConfig.BreakState = TIM_BREAK_DISABLE;
  sBreakDeadTimeConfig.BreakPolarity = TIM_BREAKPOLARITY_HIGH;
  sBreakDeadTimeConfig.BreakFilter = 0;
  sBreakDeadTimeConfig.Break2State = TIM_BREAK2_DISABLE;
  sBreakDeadTimeConfig.Break2Polarity = TIM_BREAK2POLARITY_HIGH;
  sBreakDeadTimeConfig.Break2Filter = 0;
  sBreakDeadTimeConfig.AutomaticOutput = TIM_AUTOMATICOUTPUT_DISABLE;
  if (HAL_TIMEx_ConfigBreakDeadTime(&htim1, &sBreakDeadTimeConfig) != HAL_OK)
  {
    Error_Handler();
  }
  HAL_TIM_MspPostInit(&htim1);

}

void MX_TIM2_Init(void)
{

  TIM_MasterConfigTypeDef sMasterConfig = {0};
  TIM_OC_InitTypeDef sConfigOC = {0};

  htim2.Instance = TIM2;
  htim2.Init.Prescaler = 79;
  htim2.Init.CounterMode = TIM_COUNTERMODE_UP;
  htim2.Init.Period = 99999;
  htim2.Init.ClockDivision = TIM_CLOCKDIVISION_DIV1;
  htim2.Init.AutoReloadPreload = TIM_AUTORELOAD_PRELOAD_ENABLE;
  if (HAL_TIM_PWM_Init(&htim2) != HAL_OK)
  {
    Error_Handler();
  }
  if (HAL_TIM_OC_Init(&htim2) != HAL_OK)
  {
    Error_Handler();
  }
  sMasterConfig.MasterOutputTrigger = TIM_TRGO_OC2REF;
  sMasterConfig.MasterSlaveMode = TIM_MASTERSLAVEMODE_DISABLE;
  if (HAL_TIMEx_MasterConfigSynchronization(&htim2, &sMasterConfig) != HAL_OK)
  {
    Error_Handler();
  }
  sConfigOC.OCMode = TIM_OCMODE_PWM1;
  sConfigOC.Pulse = 1;
  sConfigOC.OCPolarity = TIM_OCPOLARITY_LOW;
  sConfigOC.OCFastMode = TIM_OCFAST_DISABLE;
  if (HAL_TIM_PWM_ConfigChannel(&htim2, &sConfigOC, TIM_CHANNEL_1) != HAL_OK)
  {
    Error_Handler();
  }
  sConfigOC.OCPolarity = TIM_OCPOLARITY_HIGH;
  if (HAL_TIM_PWM_ConfigChannel(&htim2, &sConfigOC, TIM_CHANNEL_2) != HAL_OK)
  {
    Error_Handler();
  }
  sConfigOC.OCMode = TIM_OCMODE_TOGGLE;
  if (HAL_TIM_OC_ConfigChannel(&htim2, &sConfigOC, TIM_CHANNEL_3) != HAL_OK)
  {
    Error_Handler();
  }
  if (HAL_TIM_OC_ConfigChannel(&htim2, &sConfigOC, TIM_CHANNEL_4) != HAL_OK)
  {
    Error_Handler();
  }
  HAL_TIM_MspPostInit(&htim2);

}

void MX_TIM6_Init(void)
{

  TIM_MasterConfigTypeDef sMasterConfig = {0};

  htim6.Instance = TIM6;
  htim6.Init.Prescaler = 799;
  htim6.Init.CounterMode = TIM_COUNTERMODE_UP;
  htim6.Init.Period = 9999;
  htim6.Init.AutoReloadPreload = TIM_AUTORELOAD_PRELOAD_ENABLE;
  if (HAL_TIM_Base_Init(&htim6) != HAL_OK)
  {
    Error_Handler();
  }
  sMasterConfig.MasterOutputTrigger = TIM_TRGO_RESET;
  sMasterConfig.MasterSlaveMode = TIM_MASTERSLAVEMODE_DISABLE;
  if (HAL_TIMEx_MasterConfigSynchronization(&htim6, &sMasterConfig) != HAL_OK)
  {
    Error_Handler();
  }

}

void MX_TIM16_Init(void)
{

  htim16.Instance = TIM16;
  htim16.Init.Prescaler = 799;
  htim16.Init.CounterMode = TIM_COUNTERMODE_UP;
  htim16.Init.Period = 9999;
  htim16.Init.ClockDivision = TIM_CLOCKDIVISION_DIV1;
  htim16.Init.RepetitionCounter = 0;
  htim16.Init.AutoReloadPreload = TIM_AUTORELOAD_PRELOAD_ENABLE;
  if (HAL_TIM_Base_Init(&htim16) != HAL_OK)
  {
    Error_Handler();
  }

}

void MX_USART1_UART_Init(void)
{

  huart1.Instance = USART1;
  huart1.Init.BaudRate = 115200;
  huart1.Init.WordLength = UART_WORDLENGTH_8B;
  huart1.Init.StopBits = UART_STOPBITS_1;
  huart1.Init.Parity = UART_PARITY_NONE;
  huart1.Init.Mode = UART_MODE_TX_RX;
  huart1.Init.HwFlowCtl = UART_HWCONTROL_NONE;
  huart1.Init.OverSampling = UART_OVERSAMPLING_16;
  huart1.Init.OneBitSampling = UART_ONE_BIT_SAMPLE_DISABLE;
  huart1.AdvancedInit.AdvFeatureInit = UART_ADVFEATURE_NO_INIT;
  if (HAL_UART_Init(&huart1) != HAL_OK)
  {
    Error_Handler();
  }

}

void MX_USART3_UART_Init(void)
{

  huart3.Instance = USART3;
  huart3.Init.BaudRate = 115200;
  huart3.Init.WordLength = UART_WORDLENGTH_8B;
  huart3.Init.StopBits = UART_STOPBITS_1;
  huart3.Init.Parity = UART_PARITY_NONE;
  huart3.Init.Mode = UART_MODE_TX_RX;
  huart3.Init.HwFlowCtl = UART_HWCONTROL_NONE;
  huart3.Init.OverSampling = UART_OVERSAMPLING_16;
  huart3.Init.OneBitSampling = UART_ONE_BIT_SAMPLE_DISABLE;
  huart3.AdvancedInit.AdvFeatureInit = UART_ADVFEATURE_NO_INIT;
  if (HAL_UART_Init(&huart3) != HAL_OK)
  {
    Error_Handler();
  }

}

void MX_DMA_Init(void)
{

  /* DMA controller clock enable */
  __HAL_RCC_DMA1_CLK_ENABLE();
  __HAL_RCC_DMA2_CLK_ENABLE();

  /* DMA interrupt init */
  /* DMA1_Channel1_IRQn interrupt configuration */
  HAL_NVIC_SetPriority(DMA1_Channel1_IRQn, 1, 0);
  HAL_NVIC_EnableIRQ(DMA1_Channel1_IRQn);
  /* DMA1_Channel2_IRQn interrupt configuration */
  HAL_NVIC_SetPriority(DMA1_Channel2_IRQn, 1, 0);
  HAL_NVIC_EnableIRQ(DMA1_Channel2_IRQn);
  /* DMA1_Channel4_IRQn interrupt configuration */
  HAL_NVIC_SetPriority(DMA1_Channel4_IRQn, 0, 0);
  HAL_NVIC_EnableIRQ(DMA1_Channel4_IRQn);
  /* DMA1_Channel5_IRQn interrupt configuration */
  HAL_NVIC_SetPriority(DMA1_Channel5_IRQn, 0, 0);
  HAL_NVIC_EnableIRQ(DMA1_Channel5_IRQn);
  /* DMA1_Channel7_IRQn interrupt configuration */
  HAL_NVIC_SetPriority(DMA1_Channel7_IRQn, 1, 0);
  HAL_NVIC_EnableIRQ(DMA1_Channel7_IRQn);

}

void MX_GPIO_Init(void)
{
  GPIO_InitTypeDef GPIO_InitStruct = {0};

  /* GPIO Ports Clock Enable */
  __HAL_RCC_GPIOC_CLK_ENABLE();
  __HAL_RCC_GPIOH_CLK_ENABLE();
  __HAL_RCC_GPIOA_CLK_ENABLE();
  __HAL_RCC_GPIOB_CLK_ENABLE();

  /*Configure GPIO pin Output Level */
  HAL_GPIO_WritePin(TP1_GPIO_Port, TP1_Pin, GPIO_PIN_RESET);

  /*Configure GPIO pin Output Level */
  HAL_GPIO_WritePin(GPIOB, DAC_N0_Pin|DAC_N1_Pin|PEAK_DISCHG_SW_Pin|PEAK_DETECTION_PWR_SW_Pin
                          |DAC_N2_Pin|DAC_N3_Pin|DAC_N4_Pin|DAC_N5_Pin
                          |DAC_N6_Pin|DAC_N7_Pin, GPIO_PIN_RESET);

  /*Configure GPIO pin Output Level */
  HAL_GPIO_WritePin(TP0_GPIO_Port, TP0_Pin, GPIO_PIN_RESET);

  /*Configure GPIO pin Output Level */
  HAL_GPIO_WritePin(LED_GPIO_Port, LED_Pin, GPIO_PIN_RESET);

  /*Configure GPIO pin : TP1_Pin */
  GPIO_InitStruct.Pin = TP1_Pin;
  GPIO_InitStruct.Mode = GPIO_MODE_OUTPUT_PP;
  GPIO_InitStruct.Pull = GPIO_PULLDOWN;
  GPIO_InitStruct.Speed = GPIO_SPEED_FREQ_LOW;
  HAL_GPIO_Init(TP1_GPIO_Port, &GPIO_InitStruct);

  /*Configure GPIO pin : STIM_TRIGGER_INPUT_Pin */
  GPIO_InitStruct.Pin = STIM_TRIGGER_INPUT_Pin;
  GPIO_InitStruct.Mode = GPIO_MODE_IT_RISING;
  GPIO_InitStruct.Pull = GPIO_NOPULL;
  HAL_GPIO_Init(STIM_TRIGGER_INPUT_GPIO_Port, &GPIO_InitStruct);

  /*Configure GPIO pins : DAC_N0_Pin DAC_N1_Pin PEAK_DISCHG_SW_Pin PEAK_DETECTION_PWR_SW_Pin
                           DAC_N2_Pin DAC_N3_Pin DAC_N4_Pin DAC_N5_Pin
                           DAC_N6_Pin DAC_N7_Pin */
  GPIO_InitStruct.Pin = DAC_N0_Pin|DAC_N1_Pin|PEAK_DISCHG_SW_Pin|PEAK_DETECTION_PWR_SW_Pin
                          |DAC_N2_Pin|DAC_N3_Pin|DAC_N4_Pin|DAC_N5_Pin
                          |DAC_N6_Pin|DAC_N7_Pin;
  GPIO_InitStruct.Mode = GPIO_MODE_OUTPUT_PP;
  GPIO_InitStruct.Pull = GPIO_PULLDOWN;
  GPIO_InitStruct.Speed = GPIO_SPEED_FREQ_LOW;
  HAL_GPIO_Init(GPIOB, &GPIO_InitStruct);

  /*Configure GPIO pins : BTN_STIM_UP_Pin BTN_STIM_DOWN_Pin BTN_START_Pin */
  GPIO_InitStruct.Pin = BTN_STIM_UP_Pin|BTN_STIM_DOWN_Pin|BTN_START_Pin;
  GPIO_InitStruct.Mode = GPIO_MODE_INPUT;
  GPIO_InitStruct.Pull = GPIO_PULLUP;
  HAL_GPIO_Init(GPIOB, &GPIO_InitStruct);

  /*Configure GPIO pins : QCC_CTRL0_Pin QCC_CTRL1_Pin */
  GPIO_InitStruct.Pin = QCC_CTRL0_Pin|QCC_CTRL1_Pin;
  GPIO_InitStruct.Mode = GPIO_MODE_IT_RISING;
  GPIO_InitStruct.Pull = GPIO_NOPULL;
  HAL_GPIO_Init(GPIOA, &GPIO_InitStruct);

  /*Configure GPIO pin : TP0_Pin */
  GPIO_InitStruct.Pin = TP0_Pin;
  GPIO_InitStruct.Mode = GPIO_MODE_OUTPUT_PP;
  GPIO_InitStruct.Pull = GPIO_PULLDOWN;
  GPIO_InitStruct.Speed = GPIO_SPEED_FREQ_LOW;
  HAL_GPIO_Init(TP0_GPIO_Port, &GPIO_InitStruct);

  /*Configure GPIO pin : LED_Pin */
  GPIO_InitStruct.Pin = LED_Pin;
  GPIO_InitStruct.Mode = GPIO_MODE_OUTPUT_PP;
  GPIO_InitStruct.Pull = GPIO_PULLDOWN;
  GPIO_InitStruct.Speed = GPIO_SPEED_FREQ_LOW;
  HAL_GPIO_Init(LED_GPIO_Port, &GPIO_InitStruct);

  /* EXTI interrupt init*/
  HAL_NVIC_SetPriority(EXTI0_IRQn, 0, 0);
  HAL_NVIC_EnableIRQ(EXTI0_IRQn);

  HAL_NVIC_SetPriority(EXTI15_10_IRQn, 0, 0);
  HAL_NVIC_EnableIRQ(EXTI15_10_IRQn);

}

void Error_Handler(void)
{
	__disable_irq();
	while (1)
	{
	}
}
